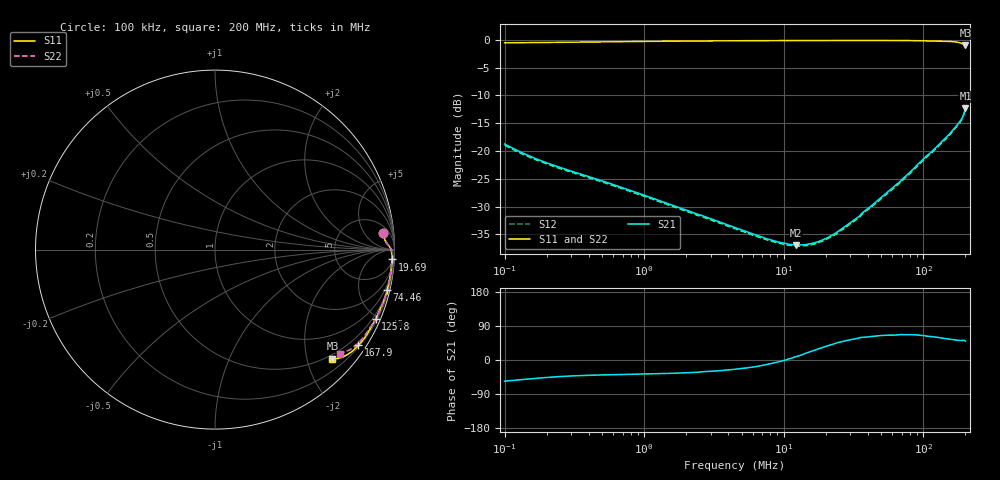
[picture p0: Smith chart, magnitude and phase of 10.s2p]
#  HZ  S  RI  R  50.00
! Rohde & Schwarz Vector Network Analyzer
! Rohde-Schwarz,ZNLE6-2Port,1323001256200024,1.71.1.10-23.02.1.238
! Created: UTC 4/8/2025, 5:21:41 AM
! freq[Hz]  re:S11  im:S11  re:S21  im:S21  re:S12  im:S12  re:S22  im:S22
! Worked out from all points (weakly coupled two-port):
!   1001 points, 100 kHz to 200 MHz, reference 50 ohm
!   highest |S21| = -12.34 dB at 200 MHz (marker M1); lowest = -36.9 dB at 12.2 MHz (marker M2)
!   lowest |S11| = -1.0 dB at 200 MHz (marker M3), VSWR 17.73, Z = 20.7 - j124 ohm
!   |S11| at or under -10 dB: nowhere
!   |S22| runs from -0.8 to -0.1 dB; largest |S21 - S12| = 0.0047
!   S11 on the Smith chart (normalised r, x): 100 kHz: 9, +14; 19.69 MHz: 8, -34; 74.46 MHz: 0.54, -8.56; 125.8 MHz: 0.30, -4.82; 167.9 MHz: 0.24, -3.28; 200 MHz: 0.41, -2.49
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100000  0.9358 0.0951  0.0649 -0.0957  0.0631 -0.0936  0.9375 0.0928
175499.6  0.9444 0.061  0.0561 -0.0618  0.0546 -0.0604  0.9459 0.0597
355854.1  0.9538 0.0394  0.0466 -0.0404  0.0455 -0.0395  0.955 0.0386
1266322  0.9711 0.0182  0.0291 -0.0213  0.0284 -0.0209  0.9717 0.0179
4472136  0.9814 -0.00245  0.0187 -0.00851  0.0181 -0.00853  0.9821 -0.00106
8277485  0.9843 -0.0173  0.0155 -0.00238  0.0151 -0.00264  0.9849 -0.0153
1.01631e7  0.985 -0.024  0.0147 -9.91e-05  0.0144 -0.000417  0.9855 -0.0216
1.219694e7  0.9857 -0.0309  0.0141 0.0022  0.0139 0.00167  0.9859 -0.028
1.419945e7  0.9856 -0.0375  0.0138 0.00422  0.0135 0.00379  0.9862 -0.0343
1.591428e7  0.9857 -0.0429  0.0136 0.00585  0.0133 0.00552  0.9863 -0.0397
1.968865e7  0.9855 -0.055  0.0133 0.00932  0.013 0.00898  0.9862 -0.0512
2.380902e7  0.9849 -0.0683  0.0131 0.013  0.013 0.0124  0.9857 -0.0633
3.37745e7  0.9824 -0.0997  0.0138 0.0212  0.0135 0.0206  0.9834 -0.0932
5.663162e7  0.9723 -0.171  0.0181 0.0399  0.0184 0.0384  0.9747 -0.1594
7.445538e7  0.9592 -0.2264  0.0233 0.0545  0.0239 0.0525  0.9631 -0.2116
9.788884e7  0.9355 -0.3003  0.0353 0.0747  0.0359 0.0721  0.9423 -0.281
1.257961e8  0.8953 -0.3867  0.0555 0.0958  0.0558 0.0924  0.9064 -0.3649
1.486928e8  0.8513 -0.4646  0.0765 0.1127  0.0754 0.1095  0.8634 -0.4352
1.679215e8  0.7984 -0.5334  0.0975 0.1302  0.0971 0.1262  0.8198 -0.4981
1.853616e8  0.7244 -0.5922  0.118 0.1479  0.1174 0.1438  0.7563 -0.5547
1.940108e8  0.6758 -0.6079  0.1301 0.1677  0.129 0.1633  0.7162 -0.5711
2e8  0.6545 -0.6078  0.1563 0.184  0.1548 0.18  0.698 -0.5832
